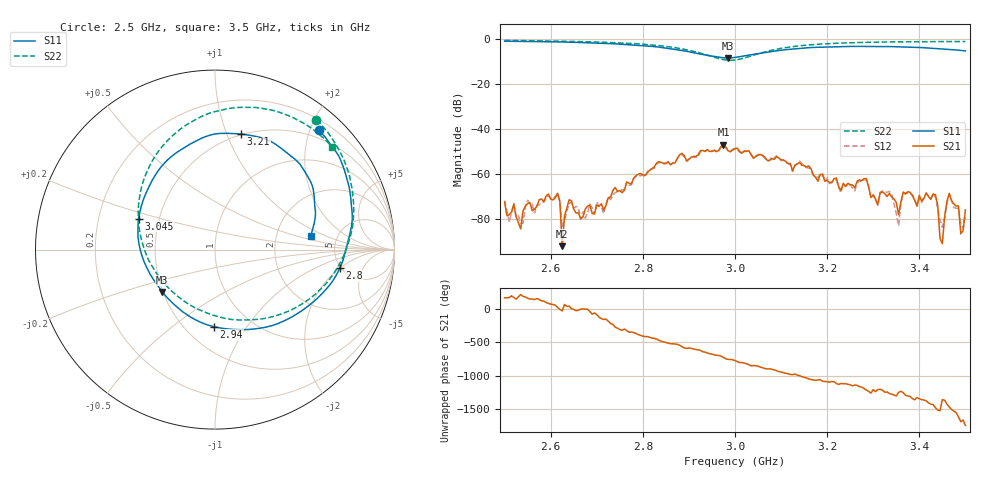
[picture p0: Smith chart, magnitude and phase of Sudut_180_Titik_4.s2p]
# Hz S RI R 50
! CMT, C1220, 16058040, 17.2.0/1
! Date: 15/08/2018 10:33:50
! Data: Format (Calibration Info)
! Freq  S11: Re/Im (F2)  S21: Re/Im (F2)  S12: Re/Im (F2)  S22: Re/Im (F2)
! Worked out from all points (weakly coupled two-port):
!   201 points, 2.5 GHz to 3.5 GHz, reference 50 ohm
!   highest |S21| = -47.02 dB at 2.975 GHz (marker M1); lowest = -92.0 dB at 2.625 GHz (marker M2)
!   lowest |S11| = -8.5 dB at 2.985 GHz (marker M3), VSWR 2.21, Z = 24.8 - j13.6 ohm
!   |S11| at or under -10 dB: nowhere
!   |S22| runs from -9.5 to -0.7 dB; largest |S21 - S12| = 0.00023
!   S11 on the Smith chart (normalised r, x): 2.5 GHz: 0.35, +2.14; 2.8 GHz: 4.90, -1.99; 2.94 GHz: 0.68, -0.72; 3.045 GHz: 0.38, +0.17; 3.21 GHz: 0.49, +1.12; 3.5 GHz: 3.17, +0.69
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2.5e9  0.5781 0.667  -0.000228 7.87e-05  -0.000248 7.22e-05  0.5654 0.7224
2.54e9  0.6282 0.6065  -0.000151 -7.18e-06  -8.11e-05 9.48e-06  0.6111 0.6738
2.615e9  0.7089 0.4769  0.000353 0.000123  0.000327 0.000169  0.6885 0.5595
2.625e9  0.7186 0.4498  2.11e-05 -1.38e-05  5.35e-05 3.89e-05  0.6978 0.5416
2.64e9  0.7308 0.4099  0.000208 0.000172  0.000191 0.00011  0.7116 0.5143
2.67e9  0.7486 0.3407  0.000111 -7.11e-06  0.000142 -3.52e-05  0.7368 0.4512
2.8e9  0.6957 -0.1027  0.000631 -0.000729  0.000613 -0.000722  0.7545 0.0742
2.835e9  0.6103 -0.2302  -0.000681 -0.00176  -0.000564 -0.00169  0.7025 -0.0631
2.94e9  -0.00515 -0.4299  0.00176 0.00302  0.00162 0.00302  0.1778 -0.3919
2.975e9  -0.2385 -0.2955  0.00443 -0.000503  0.00424 -0.000544  -0.1012 -0.3298
2.985e9  -0.2934 -0.2355  0.00269 -0.0019  0.0028 -0.00179  -0.1749 -0.2854
3e9  -0.3605 -0.1385  0.00228 -0.00288  0.00215 -0.00301  -0.2726 -0.1995
3.045e9  -0.4258 0.1726  -0.00148 -0.00193  -0.00155 -0.00198  -0.4253 0.1397
3.17e9  -0.00536 0.6431  0.000904 0.000301  0.000872 0.000369  -0.0781 0.7405
3.21e9  0.1456 0.6428  0.00064 -5.16e-05  0.000642 -0.000233  0.0672 0.7842
3.335e9  0.4677 0.4822  -0.000373 1.02e-05  -0.00041 6.38e-05  0.403 0.7489
3.355e9  0.4978 0.4387  -0.000122 -3.17e-05  -7.03e-05 -1.1e-05  0.4412 0.7318
3.375e9  0.5255 0.3921  -0.000315 0.000258  -0.000338 0.000177  0.4802 0.7118
3.435e9  0.5558 0.2421  0.000286 -0.000197  0.000235 -0.000196  0.5723 0.6486
3.445e9  0.5593 0.2175  7.71e-06 -3.65e-05  -3.97e-07 -9.76e-05  0.5868 0.6364
3.465e9  0.557 0.1699  0.000344 -0.000147  0.000304 -0.000193  0.6117 0.6154
3.5e9  0.533 0.0777  7.66e-05 0.000142  9.05e-05 8.32e-05  0.6518 0.5736
